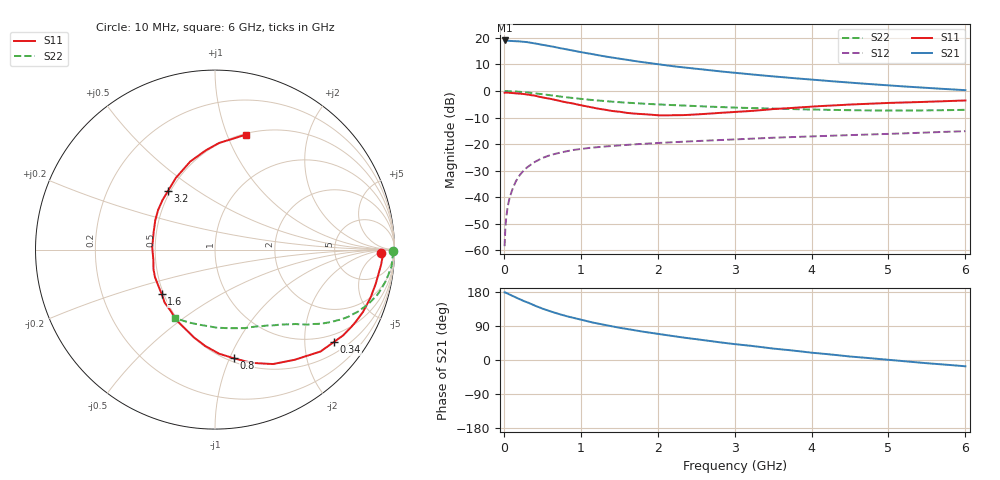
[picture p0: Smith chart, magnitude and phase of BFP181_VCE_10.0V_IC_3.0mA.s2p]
! Infineon Technologies  Discrete & RF Semiconductors
! BFP181
! VCE = 10.0V,  IC =  3.0 mA
! Common Emitter S-Parameters:  Jan 2016
# GHz  S  MA  R  50
!  f  S11  S21  S12  S22
! GHz  MAG  ANG  MAG  ANG  MAG  ANG  MAG  ANG
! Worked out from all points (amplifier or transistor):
!   210 points, 10 MHz to 6 GHz, reference 50 ohm
!   highest |S21| = 19.0 dB at 10 MHz (marker M1)
!   |S21| within 3 dB of that: start of sweep to 752.3 MHz
!   unconditionally stable (mu >= 1): 2.279 GHz to end of sweep
!   at 185 MHz: K = 0.12, MSG = 25.6 dB, |S12| = -32.6 dB
!   at 1.52 GHz: K = 0.77, MSG = 16.3 dB, |S12| = -20.5 dB
!   at 6 GHz: K = 1.11, MAG = 5.7 dB, |S12| = -15.1 dB
!   S11 on the Smith chart (normalised r, x): 10 MHz: 24, -7; 340 MHz: 0.78, -2.72; 800 MHz: 0.53, -1.04; 1.6 GHz: 0.49, -0.28; 3.2 GHz: 0.49, +0.38; 6 GHz: 0.51, +1.17
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0.01  0.9272 -1.3  8.913 178.5  0.0012 68.7  0.9911 -0.5
0.02  0.9349 -2.4  8.906 178.1  0.0027 78.5  0.9919 -1.1
0.04  0.9305 -4.4  8.84 176.0  0.0053 87.4  0.9899 -2.2
0.09  0.9182 -10.3  8.721 171.3  0.0114 82.7  0.988 -4.9
0.195  0.8958 -22.1  8.571 161.5  0.0247 77.4  0.9674 -10.3
0.24  0.8817 -27.0  8.447 157.3  0.0298 73.7  0.9558 -12.6
0.34  0.8392 -37.8  8.102 149.1  0.04 67.6  0.9252 -17.1
0.4  0.8173 -44.0  7.867 143.6  0.0459 64.7  0.9056 -19.7
0.5  0.7577 -54.1  7.389 135.7  0.0547 59.6  0.8686 -23.4
0.6  0.7149 -63.1  7.02 128.7  0.0617 55.2  0.8311 -26.8
0.7  0.6643 -71.9  6.511 122.3  0.0676 51.4  0.7956 -29.5
0.8  0.6146 -80.2  6.142 116.4  0.0724 48.0  0.7637 -31.8
1.02  0.5313 -97.3  5.315 105.2  0.0812 42.6  0.7042 -36.0
1.28  0.4522 -117.0  4.555 93.8  0.0892 37.9  0.6496 -39.9
1.6  0.3868 -140.1  3.842 81.9  0.0966 34.1  0.6009 -43.7
2.02  0.3482 -170.6  3.158 68.3  0.1052 30.6  0.5558 -48.7
2.4  0.3545 165.0  2.712 57.4  0.1122 28.2  0.5261 -53.5
3.1  0.4095 132.6  2.125 39.8  0.1242 24.5  0.4816 -63.2
3.2  0.4186 128.8  2.059 37.7  0.1261 24.0  0.4774 -64.8
4.1  0.5174 103.5  1.592 17.5  0.1415 19.2  0.4438 -80.6
5.1  0.6002 86.3  1.244 -1.3  0.157 14.7  0.4271 -100.8
6  0.6623 75.1  1.034 -16.6  0.1749 10.3  0.4418 -120.1
